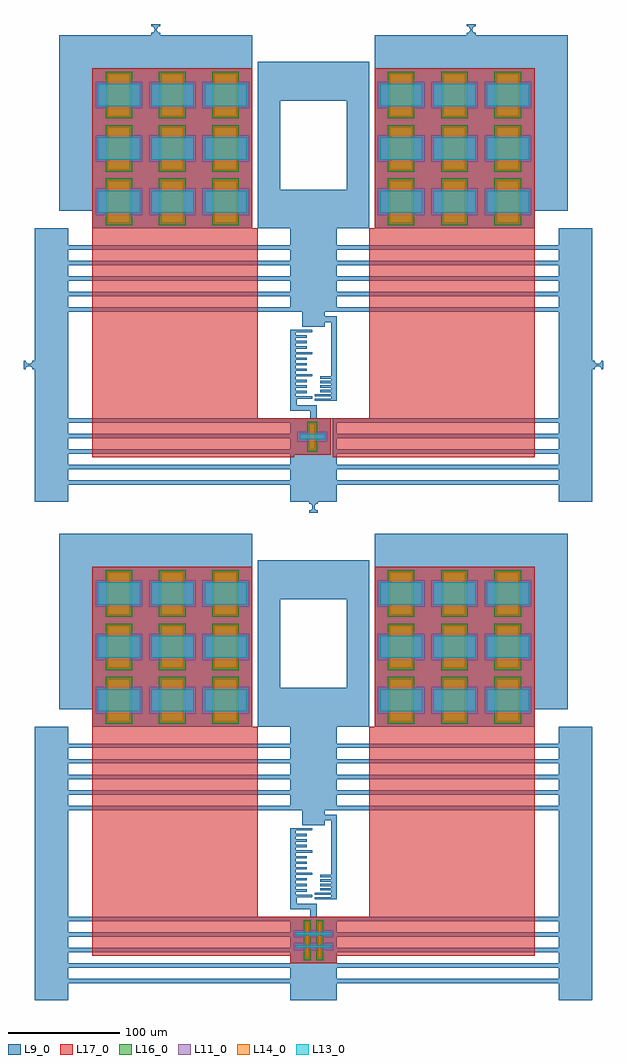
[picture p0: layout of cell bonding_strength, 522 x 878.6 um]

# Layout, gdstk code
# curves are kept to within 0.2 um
import gdstk
lib = gdstk.Library(unit=1e-6, precision=1e-09)
def R(c, l, rs):  # rectangles x0, y0, x1, y1
    for r in rs: c.add(gdstk.rectangle(r[:2], r[2:], *l))
def A(c, l, x, y, w, h, nx, ny, dx, dy):  # array of equal rectangles
    R(c, l, [(x+i*dx, y+j*dy, x+i*dx+w, y+j*dy+h) for i in range(nx) for j in range(ny)])
def P(c, l, *ps):  # polygons
    for p in ps: c.add(gdstk.Polygon(p, *l))
L9_0 = (9, 0)
L11_0 = (11, 0)
L13_0 = (13, 0)
L14_0 = (14, 0)
L16_0 = (16, 0)
L17_0 = (17, 0)

pin_holder = lib.new_cell('pin_holder')
P(pin_holder, L9_0, [(50,75),(30,75),(30,-40),(-30,-40),(-30,40),(30,40),(30,75),(-50,75),(-50,-75),(50,-75)])

bonding_strength = lib.new_cell('bonding_strength')
A(bonding_strength, L9_0, -221, -515.9, 200, 4, 1, 5, 0, 14)
A(bonding_strength, L9_0, 21, -515.9, 200, 4, 1, 5, 0, 14)
A(bonding_strength, L9_0, -21, -438.3, 5, 22, 1, 3, 0, 20)
A(bonding_strength, L9_0, -16, -438.3, 15, 2, 1, 4, 0, 20)
A(bonding_strength, L9_0, -16, -433.3, 10, 2, 1, 3, 0, 5)
A(bonding_strength, L9_0, 6, -432.3, 10, 2, 1, 4, 0, 4)
A(bonding_strength, L9_0, -16, -413.3, 10, 2, 1, 3, 0, 5)
A(bonding_strength, L9_0, -16, -393.3, 10, 2, 1, 3, 0, 5)
A(bonding_strength, L9_0, -221, -360, 200, 4, 1, 5, 0, 14)
A(bonding_strength, L9_0, 21, -360, 200, 4, 1, 5, 0, 14)
A(bonding_strength, L9_0, -199, -285, 48, 48, 3, 3, 48, 48)
A(bonding_strength, L9_0, 55, -285, 48, 48, 3, 3, 48, 48)
A(bonding_strength, L9_0, -221, -67.2, 200, 4, 1, 5, 0, 14)
A(bonding_strength, L9_0, 21, -67.2, 200, 4, 1, 5, 0, 14)
A(bonding_strength, L9_0, -21, 10.4, 5, 22, 1, 3, 0, 20)
A(bonding_strength, L9_0, -16, 10.4, 15, 2, 1, 4, 0, 20)
A(bonding_strength, L9_0, -16, 15.4, 10, 2, 1, 3, 0, 5)
A(bonding_strength, L9_0, 6, 16.4, 10, 2, 1, 4, 0, 4)
A(bonding_strength, L9_0, -16, 35.4, 10, 2, 1, 3, 0, 5)
A(bonding_strength, L9_0, -16, 55.4, 10, 2, 1, 3, 0, 5)
A(bonding_strength, L9_0, -221, 88.7, 200, 4, 1, 5, 0, 14)
A(bonding_strength, L9_0, 21, 88.7, 200, 4, 1, 5, 0, 14)
A(bonding_strength, L9_0, -199, 163.7, 48, 48, 3, 3, 48, 48)
A(bonding_strength, L9_0, 55, 163.7, 48, 48, 3, 3, 48, 48)
R(bonding_strength, L9_0, [(-251,-530.9,-221,-285), (-21,-530.9,21,-455.9), (221,-530.9,251,-285), (-20.8,-497.9,9.7,-467.4), (-9.5,-497.9,21,-467.4), (-20.8,-486.4,9.7,-455.9), (-9.5,-486.4,21,-455.9), (-3,-455.9,3,-449.3), (-21,-449.3,-15,-438.3), (-15,-449.3,3,-444.3), (1,-440.3,16,-438.3), (16,-440.3,21,-418.3), (1,-436.3,16,-434.3), (16,-418.3,21,-364.3), (-10,-373.4,10,-360), (10,-369.3,16,-364.3), (-21,-360,21,-285), (-199,-285,-55,-141), (55,-285,199,-141), (-251,-82.2,-221,163.7), (-21,-82.2,21,-7.2), (221,-82.2,251,163.7), (-17.5,-40.2,15.5,-7.2), (-3,-7.2,3,-0.6), (-21,-0.6,-15,10.4), (-15,-0.6,3,4.4), (1,8.4,16,10.4), (16,8.4,21,30.4), (1,12.4,16,14.4), (16,30.4,21,84.4), (-10,75.3,10,88.7), (10,79.4,16,84.4), (-21,88.7,21,163.7), (-199,163.7,-55,307.7), (55,163.7,199,307.7)])
P(bonding_strength, L9_0, [(4,-90.2),(2.237,-89.627),(1.573,-88.963),(1,-87.2),(1.573,-85.437),(2.237,-84.773),(4,-84.2),(4,-82.2),(-4,-82.2),(-4,-84.2),(-2.237,-84.773),(-1.573,-85.437),(-1,-87.2),(-1.573,-88.963),(-2.237,-89.627),(-4,-90.2),(-4,-92.2),(4,-92.2)],
  [(253,36.75),(253.573,38.513),(254.237,39.177),(256,39.75),(257.763,39.177),(258.427,38.513),(259,36.75),(261,36.75),(261,44.75),(259,44.75),(258.427,42.987),(257.763,42.323),(256,41.75),(254.237,42.323),(253.573,42.987),(253,44.75),(251,44.75),(251,36.75)],
  [(-259,36.75),(-258.427,38.513),(-257.763,39.177),(-256,39.75),(-254.237,39.177),(-253.573,38.513),(-253,36.75),(-251,36.75),(-251,44.75),(-253,44.75),(-253.573,42.987),(-254.237,42.323),(-256,41.75),(-257.763,42.323),(-258.427,42.987),(-259,44.75),(-261,44.75),(-261,36.75)],
  [(146,339.7),(144.237,340.273),(143.573,340.937),(143,342.7),(143.573,344.463),(144.237,345.127),(146,345.7),(146,347.7),(138,347.7),(138,345.7),(139.763,345.127),(140.427,344.463),(141,342.7),(140.427,340.937),(139.763,340.273),(138,339.7),(138,337.7),(146,337.7)],
  [(-138,339.7),(-139.763,340.273),(-140.427,340.937),(-141,342.7),(-140.427,344.463),(-139.763,345.127),(-138,345.7),(-138,347.7),(-146,347.7),(-146,345.7),(-144.237,345.127),(-143.573,344.463),(-143,342.7),(-143.573,340.937),(-144.237,340.273),(-146,339.7),(-146,337.7),(-138,337.7)])
A(bonding_strength, L11_0, -196, -273, 42, 24, 3, 3, 48, 48)
A(bonding_strength, L11_0, 58, -273, 42, 24, 3, 3, 48, 48)
A(bonding_strength, L11_0, -196, 175.7, 42, 24, 3, 3, 48, 48)
A(bonding_strength, L11_0, 58, 175.7, 42, 24, 3, 3, 48, 48)
R(bonding_strength, L11_0, [(-17.8,-485.9,6.7,-479.4), (-6.5,-485.9,18,-479.4), (-17.8,-474.4,6.7,-467.9), (-6.5,-474.4,18,-467.9), (-14.5,-28.2,12.5,-19.2)])
A(bonding_strength, L13_0, -194, -271, 38, 20, 3, 3, 48, 48)
A(bonding_strength, L13_0, 60, -271, 38, 20, 3, 3, 48, 48)
A(bonding_strength, L13_0, -194, 177.7, 38, 20, 3, 3, 48, 48)
A(bonding_strength, L13_0, 60, 177.7, 38, 20, 3, 3, 48, 48)
R(bonding_strength, L13_0, [(-15.8,-483.9,4.7,-481.4), (-4.5,-483.9,16,-481.4), (-15.8,-472.4,4.7,-469.9), (-4.5,-472.4,16,-469.9), (-12.5,-26.2,10.5,-21.2)])
A(bonding_strength, L14_0, -185.2, -280, 20, 38, 3, 3, 48, 48)
A(bonding_strength, L14_0, 68.8, -280, 20, 38, 3, 3, 48, 48)
A(bonding_strength, L14_0, -185.2, 168.7, 20, 38, 3, 3, 48, 48)
A(bonding_strength, L14_0, 68.8, 168.7, 20, 38, 3, 3, 48, 48)
R(bonding_strength, L14_0, [(-7,-492.9,-4.5,-472.4), (4.3,-492.9,6.8,-472.4), (-7,-481.4,-4.5,-460.9), (4.3,-481.4,6.8,-460.9), (-3.7,-35.2,1.3,-12.2)])
A(bonding_strength, L16_0, -187.2, -282, 24, 42, 3, 3, 48, 48)
A(bonding_strength, L16_0, 66.8, -282, 24, 42, 3, 3, 48, 48)
A(bonding_strength, L16_0, -187.2, 166.7, 24, 42, 3, 3, 48, 48)
A(bonding_strength, L16_0, 66.8, 166.7, 24, 42, 3, 3, 48, 48)
R(bonding_strength, L16_0, [(-9,-494.9,-2.5,-470.4), (2.3,-494.9,8.8,-470.4), (-9,-483.4,-2.5,-458.9), (2.3,-483.4,8.8,-458.9), (-5.7,-37.2,3.3,-10.2)])
A(bonding_strength, L17_0, -199, -285, 48, 48, 3, 3, 48, 48)
A(bonding_strength, L17_0, 55, -285, 48, 48, 3, 3, 48, 48)
A(bonding_strength, L17_0, -199, 163.7, 48, 48, 3, 3, 48, 48)
A(bonding_strength, L17_0, 55, 163.7, 48, 48, 3, 3, 48, 48)
R(bonding_strength, L17_0, [(-20.8,-497.9,9.7,-467.4), (-9.5,-497.9,21,-467.4), (-199,-490.9,-50,-285), (-50,-490.9,-17.5,-455.9), (17.5,-490.9,50,-455.9), (50,-490.9,199,-285), (-20.8,-486.4,9.7,-455.9), (-9.5,-486.4,21,-455.9), (-199,-42.2,-50,163.7), (-50,-42.2,-17.5,-7.2), (17.5,-42.2,50,-7.2), (50,-42.2,199,163.7), (-17.5,-40.2,15.5,-7.2)])
bonding_strength.add(gdstk.FlexPath([(-214,179.7),(-214,322.7),(-55,322.7)], 30, ends="flush", simple_path=True, layer=9, datatype=0))  # L9_0
bonding_strength.add(gdstk.FlexPath([(214,179.7),(214,322.7),(55,322.7)], 30, ends="flush", simple_path=True, layer=9, datatype=0))  # L9_0
bonding_strength.add(gdstk.FlexPath([(-214,-269),(-214,-126),(-55,-126)], 30, ends="flush", simple_path=True, layer=9, datatype=0))  # L9_0
bonding_strength.add(gdstk.FlexPath([(214,-269),(214,-126),(55,-126)], 30, ends="flush", simple_path=True, layer=9, datatype=0))  # L9_0
bonding_strength.add(gdstk.Reference(pin_holder, (0,-210)))
bonding_strength.add(gdstk.Reference(pin_holder, (0,238.7)))

lib.write_gds('bonding_strength.gds')
